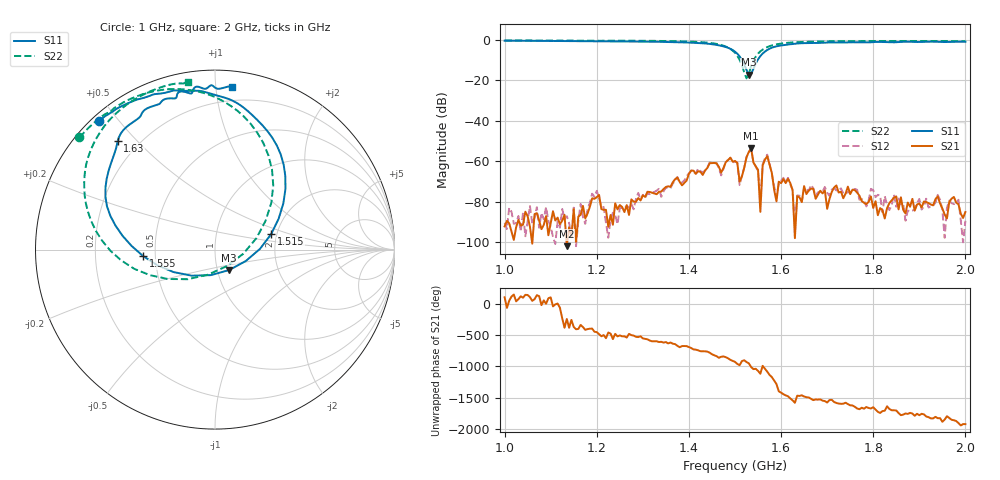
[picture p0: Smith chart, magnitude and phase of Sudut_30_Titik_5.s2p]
# Hz S RI R 50
! CMT, C1220, 16058040, 17.2.0/1
! Date: 14/08/2018 11:46:09
! Data: Format (Calibration Info)
! Freq  S11: Re/Im (F2)  S21: Re/Im (F2)  S12: Re/Im (F2)  S22: Re/Im (F2)
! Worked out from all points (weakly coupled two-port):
!   201 points, 1 GHz to 2 GHz, reference 50 ohm
!   highest |S21| = -53.67 dB at 1.535 GHz (marker M1); lowest = -102.0 dB at 1.135 GHz (marker M2)
!   lowest |S11| = -17.2 dB at 1.53 GHz (marker M3), VSWR 1.32, Z = 56.9 - j13.2 ohm
!   |S11| at or under -10 dB: 1.516 GHz to 1.549 GHz (33.36 MHz wide, 2.18 % of centre)
!   |S22| runs from -19.0 to -0.2 dB; largest |S21 - S12| = 0.00016
!   S11 on the Smith chart (normalised r, x): 1 GHz: 0.02, +0.44; 1.515 GHz: 1.87, +0.36; 1.555 GHz: 0.43, -0.04; 1.63 GHz: 0.12, +0.44; 2 GHz: 0.11, +1.11
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1e9  -0.6487 0.7151  -4.13e-06 2.4e-05  -1.9e-05 -2.32e-05  -0.7551 0.6246
1.135e9  -0.5038 0.8075  -3.18e-06 7.26e-06  4.28e-05 -8.48e-06  -0.6524 0.7254
1.17e9  -0.4675 0.8229  7.59e-05 -2.05e-05  3.12e-05 -2.86e-05  -0.6182 0.751
1.335e9  -0.2022 0.8855  -5.08e-05 0.000168  -5.81e-05 0.000199  -0.4006 0.8664
1.45e9  0.1842 0.7708  3.22e-05 -0.000901  -2.15e-05 -0.000943  0.0223 0.8391
1.47e9  0.2909 0.6617  -0.000323 -0.000416  -0.000256 -0.000367  0.1621 0.7402
1.5e9  0.3925 0.338  -0.000883 0.000506  -0.000879 0.00048  0.3246 0.3577
1.51e9  0.3548 0.1727  -4.37e-05 0.000312  -4.68e-05 0.000252  0.2827 0.1622
1.515e9  0.3129 0.086  -0.000403 0.000125  -0.000431 8.15e-05  0.2319 0.0651
1.53e9  0.0785 -0.1141  -0.00104 0.00135  -0.00101 0.00134  -0.0411 -0.1403
1.535e9  -0.0233 -0.1423  0.000762 0.00193  0.000763 0.00193  -0.1523 -0.1649
1.55e9  -0.3225 -0.0865  0.000608 7.27e-05  0.000575 8.44e-05  -0.4502 -0.1069
1.555e9  -0.4005 -0.0361  4.44e-05 -3.39e-05  0.000108 -6.26e-06  -0.5234 -0.0596
1.56e9  -0.4641 0.0197  3.66e-05 0.000784  3.79e-05 0.000827  -0.5821 -0.007
1.57e9  -0.554 0.1332  0.00133 -0.000131  0.00144 -0.000168  -0.6636 0.104
1.59e9  -0.6102 0.3463  -9.35e-05 4.04e-05  -0.000102 8e-05  -0.7259 0.2996
1.595e9  -0.6037 0.3934  0.000233 0.000208  0.00018 0.000213  -0.7284 0.3398
1.615e9  -0.5591 0.5388  0.000295 -0.000221  0.000267 -0.00028  -0.7188 0.4696
1.63e9  -0.5411 0.6075  -9.61e-06 -7.96e-06  2.23e-05 -5.26e-06  -0.697 0.5421
1.67e9  -0.4307 0.7284  -3.15e-05 -0.000206  -4.16e-06 -0.000214  -0.6272 0.6725
1.835e9  -0.1387 0.8699  -4.71e-05 7.93e-05  8.07e-07 6.2e-05  -0.3769 0.8745
2e9  0.0966 0.9032  -2.88e-05 -4.72e-05  1.59e-05 -2.95e-05  -0.1515 0.9344
